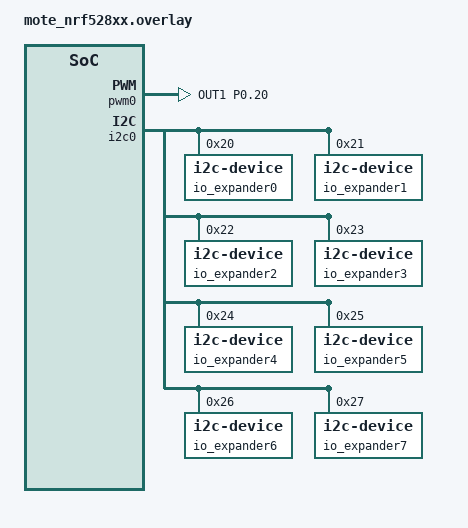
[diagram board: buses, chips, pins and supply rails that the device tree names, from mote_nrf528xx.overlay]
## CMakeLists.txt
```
#
# Copyright (c) 2021 Nordic Semiconductor ASA
#
# SPDX-License-Identifier: LicenseRef-Nordic-5-Clause
#

cmake_minimum_required(VERSION 3.20.0)

# Set Kconfig root files that will be processed as a first Kconfig for used child images.
set(mcuboot_KCONFIG_ROOT "\\\${ZEPHYR_CONNECTEDHOMEIP_MODULE_DIR}/config/nrfconnect/chip-module/Kconfig.mcuboot.root")
set(multiprotocol_rpmsg_KCONFIG_ROOT "\\\${ZEPHYR_CONNECTEDHOMEIP_MODULE_DIR}/config/nrfconnect/chip-module/Kconfig.multiprotocol_rpmsg.root")
set(hci_rpmsg_KCONFIG_ROOT "\\\${ZEPHYR_CONNECTEDHOMEIP_MODULE_DIR}/config/nrfconnect/chip-module/Kconfig.hci_rpmsg.root")

# For prj.conf the CONF_FILE is empty. In other case extract the exact file name from the path string.
if(CONF_FILE)
    get_filename_component(CONFIG_FILE_NAME ${CONF_FILE} NAME)
endif()

if(NOT "${CONFIG_FILE_NAME}" STREQUAL "prj_no_dfu.conf")
    message(STATUS "PM on board:" ${BOARD})
    set(PM_STATIC_YML_FILE ${CMAKE_CURRENT_SOURCE_DIR}/configuration/${BOARD}/pm_static_dfu.yml)
endif()

find_package(Zephyr HINTS $ENV{ZEPHYR_BASE})

project(matter-smart-pulgs)

set(COMMON_ROOT ${ZEPHYR_NRF_MODULE_DIR}/samples/matter/common)
set(NLIO_ROOT ${ZEPHYR_CONNECTEDHOMEIP_MODULE_DIR}/third_party/nlio/repo)
include(${ZEPHYR_CONNECTEDHOMEIP_MODULE_DIR}/config/nrfconnect/app/enable-gnu-std.cmake)
include(${ZEPHYR_CONNECTEDHOMEIP_MODULE_DIR}/src/app/chip_data_model.cmake)

# NORDIC SDK APP START
target_include_directories(app PRIVATE
    src
    ${COMMON_ROOT}/src
    ${NLIO_ROOT}/include
    ${ZEPHYR_CONNECTEDHOMEIP_MODULE_DIR}/zzz_generated/app-common
)

target_sources(app PRIVATE
    src/app_task.cpp
    src/main.cpp
    src/io_relay.cpp
    src/zcl_callbacks.cpp
    src/zap-generated/IMClusterCommandHandler.cpp
    src/zap-generated/callback-stub.cpp
    ${COMMON_ROOT}/src/led_widget.cpp
    ${COMMON_ROOT}/src/pwm_device.cpp
)

if(CONFIG_CHIP_OTA_REQUESTOR OR CONFIG_MCUMGR_TRANSPORT_BT)
    target_sources(app PRIVATE ${COMMON_ROOT}/src/ota_util.cpp)
endif()

if(CONFIG_MCUMGR_TRANSPORT_BT)
    target_sources(app PRIVATE ${COMMON_ROOT}/src/dfu_over_smp.cpp)
endif()

chip_configure_data_model(app
    INCLUDE_SERVER
    BYPASS_IDL
    GEN_DIR src/zap-generated
    ZAP_FILE ${CMAKE_CURRENT_SOURCE_DIR}/src/smart_plugs.zap
)
# NORDIC SDK APP END
```

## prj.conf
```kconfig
#
# Copyright (c) 2022 Nordic Semiconductor ASA
#
# SPDX-License-Identifier: LicenseRef-Nordic-5-Clause
#

# Enable CHIP
CONFIG_CHIP=y
CONFIG_CHIP_PROJECT_CONFIG="src/chip_project_config.h"
# 32773 == 0x8005 (example lighting-app)
CONFIG_CHIP_DEVICE_PRODUCT_ID=32773
CONFIG_STD_CPP14=y

# Enable CHIP pairing automatically on application start.
CONFIG_CHIP_ENABLE_PAIRING_AUTOSTART=y

# Add support for LEDs and buttons on Nordic development kits
CONFIG_DK_LIBRARY=y
CONFIG_PWM=y

# Bluetooth Low Energy configuration
CONFIG_BT_DEVICE_NAME="MatterPlugs"

# Other settings
CONFIG_THREAD_NAME=y
CONFIG_MPU_STACK_GUARD=y
CONFIG_RESET_ON_FATAL_ERROR=n
CONFIG_CHIP_LIB_SHELL=y

# Reduce application size
CONFIG_USE_SEGGER_RTT=n

# Enable Factory Data feature
CONFIG_CHIP_FACTORY_DATA=y
CONFIG_CHIP_FACTORY_DATA_BUILD=y

#CONFIG_CLOCK_CONTROL_NRF_K32SRC_RC=y
```

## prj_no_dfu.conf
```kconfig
#
# Copyright (c) 2022 Nordic Semiconductor ASA
#
# SPDX-License-Identifier: LicenseRef-Nordic-5-Clause
#

# Enable CHIP
CONFIG_CHIP=y
CONFIG_CHIP_PROJECT_CONFIG="src/chip_project_config.h"
#CONFIG_CHIP_OPENTHREAD_CONFIG="src/OpenThreadConfig.h"


# 32773 == 0x8005 (example lighting-app)
CONFIG_CHIP_DEVICE_PRODUCT_ID=32773
CONFIG_STD_CPP14=y

# Enable CHIP pairing automatically on application start.
CONFIG_CHIP_ENABLE_PAIRING_AUTOSTART=y

# Add support for LEDs and buttons on Nordic development kits
CONFIG_DK_LIBRARY=y
CONFIG_PWM=y

# Bluetooth Low Energy configuration
CONFIG_BT_DEVICE_NAME="MatterLight"

# Other settings
CONFIG_THREAD_NAME=y
CONFIG_MPU_STACK_GUARD=y
CONFIG_RESET_ON_FATAL_ERROR=n
CONFIG_CHIP_LIB_SHELL=y

# Disable Matter OTA DFU
CONFIG_CHIP_OTA_REQUESTOR=n

# Disable QSPI NOR
CONFIG_CHIP_QSPI_NOR=n

# Reduce application size
CONFIG_USE_SEGGER_RTT=n

#CONFIG_CLOCK_CONTROL_NRF_K32SRC_RC=y
```

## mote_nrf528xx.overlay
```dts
// To get started, press Ctrl+Space to bring up the completion menu and view the available nodes.

// You can also use the buttons in the sidebar to perform actions on nodes.
// Actions currently available include:

// * Enabling / disabling the node
// * Adding the bus to a bus
// * Removing the node
// * Connecting ADC channels

// For more help, browse the DeviceTree documentation at https://docs.zephyrproject.org/latest/guides/dts/index.html
// You can also visit the nRF DeviceTree extension documentation at https://nrfconnect.github.io/vscode-nrf-connect/devicetree/nrfdevicetree.html



 / {
	chosen {
		nordic,pm-ext-flash = &w25q128;
	};

	/*
	* In some default configurations within the nRF Connect SDK,
	* e.g. on nRF52840, the chosen zephyr,entropy node is &cryptocell.
	* This devicetree overlay ensures that default is overridden wherever it
	* is set, as this application uses the RNG node for entropy exclusively.
	*/

	chosen {
		zephyr,entropy = &rng;
	};

	/*
	* By default, PWM module is only configured for led0 (LED1 on the board).
	* The light bulb app, however, uses LED2 to show the state of the lighting,
	* including its brightness level.
	*/
	aliases {
		pwm-led1 = &pwm_led1;
	};

	pwmleds {
		pwm_led1: pwm_led_1 {
			pwms = <&pwm0 1 PWM_MSEC(20) PWM_POLARITY_INVERTED>;
		};
	};

};

&pwm0 {
	pinctrl-0 = <&pwm0_default_alt>;
	pinctrl-1 = <&pwm0_sleep_alt>;
	pinctrl-names = "default", "sleep";
};

&pinctrl {
	pwm0_default_alt: pwm0_default_alt {
		group1 {
			psels = <NRF_PSEL(PWM_OUT1, 0, 20)>;
			nordic,invert;
		};
	};

	pwm0_sleep_alt: pwm0_sleep_alt {
		group1 {
			psels = <NRF_PSEL(PWM_OUT1, 0, 20)>;
			low-power-enable;
		};
	};

};

/* Disable unused peripherals to reduce power consumption */
&adc {
	status = "disabled";
};
&uart1 {
	status = "disabled";
};

&spi1 {
	status = "disabled";
};
&spi3 {
	status = "disabled";
};
&usbd {
	status = "disabled";
};


&i2c0 {
    io_expander_0: io_expander@20{
        compatible = "i2c-device";
        reg = < 0x20 >;
        label = "io_expander0";
    };

    io_expander_1: io_expander@21{
        compatible = "i2c-device";
        reg = < 0x21 >;
        label = "io_expander1";
    };

    io_expander_2: io_expander@22{
        compatible = "i2c-device";
        reg = < 0x22 >;
        label = "io_expander2";
    };

    io_expander_3: io_expander@23{
        compatible = "i2c-device";
        reg = < 0x23 >;
        label = "io_expander3";
    };

    io_expander_4: io_expander@24{
        compatible = "i2c-device";
        reg = < 0x24 >;
        label = "io_expander4";
    };

    io_expander_5: io_expander@25{
        compatible = "i2c-device";
        reg = < 0x25 >;
        label = "io_expander5";
    };

    io_expander_6: io_expander@26{
        compatible = "i2c-device";
        reg = < 0x26 >;
        label = "io_expander6";
    };

    io_expander_7: io_expander@27{
        compatible = "i2c-device";
        reg = < 0x27 >;
        label = "io_expander7";
    };

};
```

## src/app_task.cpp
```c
/*
 * Copyright (c) 2021 Nordic Semiconductor ASA
 *
 * SPDX-License-Identifier: LicenseRef-Nordic-5-Clause
 */

#include "app_task.h"

#include "app_config.h"
#include "led_util.h"
#include "pwm_device.h"

#include <platform/CHIPDeviceLayer.h>

#include <app-common/zap-generated/attributes/Accessors.h>
#include <app/DeferredAttributePersistenceProvider.h>
#include <app/clusters/identify-server/identify-server.h>
#include <app/server/OnboardingCodesUtil.h>
#include <app/server/Server.h>
#include <credentials/DeviceAttestationCredsProvider.h>
#include <credentials/examples/DeviceAttestationCredsExample.h>
#include <lib/support/CHIPMem.h>
#include <lib/support/CodeUtils.h>
#include <system/SystemError.h>

#ifdef CONFIG_CHIP_WIFI
#include <app/clusters/network-commissioning/network-commissioning.h>
#include <platform/nrfconnect/wifi/NrfWiFiDriver.h>
#endif

#ifdef CONFIG_CHIP_OTA_REQUESTOR
#include "ota_util.h"
#endif

#include <dk_buttons_and_leds.h>
#include <zephyr/kernel.h>
#include <zephyr/logging/log.h>

LOG_MODULE_DECLARE(app, CONFIG_CHIP_APP_LOG_LEVEL);

using namespace ::chip;
using namespace ::chip::app;
using namespace ::chip::Credentials;
using namespace ::chip::DeviceLayer;

namespace
{
constexpr uint32_t kFactoryResetTriggerTimeout = 3000;
constexpr uint32_t kFactoryResetCancelWindowTimeout = 3000;
constexpr size_t kAppEventQueueSize = 10;
constexpr EndpointId kLightEndpointId = 1;
constexpr uint8_t kDefaultMinLevel = 0;
constexpr uint8_t kDefaultMaxLevel = 254;
#if NUMBER_OF_BUTTONS == 2
constexpr uint32_t kAdvertisingTriggerTimeout = 3000;
#endif
constexpr uint16_t kTriggerEffectTimeout = 5000;
constexpr uint16_t kTriggerEffectFinishTimeout = 1000;

K_MSGQ_DEFINE(sAppEventQueue, sizeof(AppEvent), kAppEventQueueSize, alignof(AppEvent));
k_timer sFunctionTimer;
k_timer sTriggerEffectTimer;

Identify sIdentify = { kLightEndpointId, AppTask::IdentifyStartHandler, AppTask::IdentifyStopHandler,
		       EMBER_ZCL_IDENTIFY_IDENTIFY_TYPE_VISIBLE_LED, AppTask::TriggerIdentifyEffectHandler };

LEDWidget sStatusLED;
LEDWidget sIdentifyLED;
#if NUMBER_OF_LEDS == 4
FactoryResetLEDsWrapper<2> sFactoryResetLEDs{ { FACTORY_RESET_SIGNAL_LED, FACTORY_RESET_SIGNAL_LED1 } };
#endif

bool sIsNetworkProvisioned = false;
bool sIsNetworkEnabled = false;
bool sHaveBLEConnections = false;
bool sIsTriggerEffectActive = false;

const struct pwm_dt_spec sLightPwmDevice = PWM_DT_SPEC_GET(DT_ALIAS(pwm_led1));

// Define a custom attribute persister which makes actual write of the CurrentLevel attribute value
// to the non-volatile storage only when it has remained constant for 5 seconds. This is to reduce
// the flash wearout when the attribute changes frequently as a result of MoveToLevel command.
// DeferredAttribute object describes a deferred attribute, but also holds a buffer with a value to
// be written, so it must live so long as the DeferredAttributePersistenceProvider object.
DeferredAttribute gCurrentLevelPersister(ConcreteAttributePath(kLightEndpointId, Clusters::LevelControl::Id,
							       Clusters::LevelControl::Attributes::CurrentLevel::Id));
DeferredAttributePersistenceProvider gDeferredAttributePersister(Server::GetInstance().GetDefaultAttributePersister(),
								 Span<DeferredAttribute>(&gCurrentLevelPersister, 1),
								 System::Clock::Milliseconds32(5000));

} /* namespace */

namespace LedConsts
{
constexpr uint32_t kBlinkRate_ms{ 500 };
constexpr uint32_t kIdentifyBlinkRate_ms{ 500 };

namespace StatusLed
{
	namespace Unprovisioned
	{
		constexpr uint32_t kOn_ms{ 100 };
		constexpr uint32_t kOff_ms{ kOn_ms };
	} /* namespace Unprovisioned */
	namespace Provisioned
	{
		constexpr uint32_t kOn_ms{ 50 };
		constexpr uint32_t kOff_ms{ 950 };
	} /* namespace Provisioned */

} /* namespace StatusLed */
} /* namespace LedConsts */

#ifdef CONFIG_CHIP_WIFI
app::Clusters::NetworkCommissioning::Instance
	sWiFiCommissioningInstance(0, &(NetworkCommissioning::NrfWiFiDriver::Instance()));
#endif

CHIP_ERROR AppTask::Init()
{
	/* Initialize CHIP stack */
	LOG_INF("Init CHIP stack");

	CHIP_ERROR err = chip::Platform::MemoryInit();
	if (err != CHIP_NO_ERROR) {
		LOG_ERR("Platform::MemoryInit() failed");
		return err;
	}

	err = PlatformMgr().InitChipStack();
	if (err != CHIP_NO_ERROR) {
		LOG_ERR("PlatformMgr().InitChipStack() failed");
		return err;
	}

#if defined(CONFIG_NET_L2_OPENTHREAD)
	err = ThreadStackMgr().InitThreadStack();
	if (err != CHIP_NO_ERROR) {
		LOG_ERR("ThreadStackMgr().InitThreadStack() failed: %s", ErrorStr(err));
		return err;
	}

	err = ConnectivityMgr().SetThreadDeviceType(ConnectivityManager::kThreadDeviceType_Router);

	if (err != CHIP_NO_ERROR) {
		LOG_ERR("ThreadStackMgr().InitThreadStack() failed: %s", ErrorStr(err));
		return err;
	}

#elif defined(CONFIG_CHIP_WIFI)
	sWiFiCommissioningInstance.Init();
#else
	return CHIP_ERROR_INTERNAL;
#endif /* CONFIG_NET_L2_OPENTHREAD */

	/* Initialize LEDs */
	LEDWidget::InitGpio();
	LEDWidget::SetStateUpdateCallback(LEDStateUpdateHandler);

	sStatusLED.Init(SYSTEM_STATE_LED);
	sIdentifyLED.Init(LIGHTING_STATE_LED);
	sIdentifyLED.Set(false);

	UpdateStatusLED();

	/* Initialize buttons */
	int ret = dk_buttons_init(ButtonEventHandler);
	if (ret) {
		LOG_ERR("dk_buttons_init() failed");
		return chip::System::MapErrorZephyr(ret);
	}

    /* update hardware config */
	mIO_Config.UpdateMode();

	/* Initialize function timer */
	k_timer_init(&sFunctionTimer, &AppTask::FunctionTimerTimeoutCallback, nullptr);
	k_timer_user_data_set(&sFunctionTimer, this);

	/* Initialize trigger effect timer */
	k_timer_init(&sTriggerEffectTimer, &AppTask::TriggerEffectTimerTimeoutCallback, nullptr);

	/* Initialize lighting device (PWM) */
	uint8_t minLightLevel = kDefaultMinLevel;
	Clusters::LevelControl::Attributes::MinLevel::Get(kLightEndpointId, &minLightLevel);

	uint8_t maxLightLevel = kDefaultMaxLevel;
	Clusters::LevelControl::Attributes::MaxLevel::Get(kLightEndpointId, &maxLightLevel);

	ret = mPWMDevice.Init(&sLightPwmDevice, minLightLevel, maxLightLevel, maxLightLevel);
	if (ret != 0) {
		return chip::System::MapErrorZephyr(ret);
	}
	mPWMDevice.SetCallbacks(ActionInitiated, ActionCompleted);



#ifdef CONFIG_CHIP_OTA_REQUESTOR
	/* OTA image confirmation must be done before the factory data init. */
	OtaConfirmNewImage();
#endif

#ifdef CONFIG_MCUMGR_TRANSPORT_BT
	/* Initialize DFU over SMP */
	GetDFUOverSMP().Init();
	GetDFUOverSMP().ConfirmNewImage();
#endif

	/* Initialize CHIP server */
#if CONFIG_CHIP_FACTORY_DATA
	ReturnErrorOnFailure(mFactoryDataProvider.Init());
	SetDeviceInstanceInfoProvider(&mFactoryDataProvider);
	SetDeviceAttestationCredentialsProvider(&mFactoryDataProvider);
	SetCommissionableDataProvider(&mFactoryDataProvider);
#else
	SetDeviceInstanceInfoProvider(&DeviceInstanceInfoProviderMgrImpl());
	SetDeviceAttestationCredentialsProvider(Examples::GetExampleDACProvider());
#endif

	static CommonCaseDeviceServerInitParams initParams;
	(void)initParams.InitializeStaticResourcesBeforeServerInit();

	ReturnErrorOnFailure(chip::Server::GetInstance().Init(initParams));
	app::SetAttributePersistenceProvider(&gDeferredAttributePersister);
	ConfigurationMgr().LogDeviceConfig();
	PrintOnboardingCodes(chip::RendezvousInformationFlags(chip::RendezvousInformationFlag::kBLE));

	/*
	 * Add CHIP event handler and start CHIP thread.
	 * Note that all the initialization code should happen prior to this point to avoid data races
	 * between the main and the CHIP threads.
	 */
	PlatformMgr().AddEventHandler(ChipEventHandler, 0);

	err = PlatformMgr().StartEventLoopTask();
	if (err != CHIP_NO_ERROR) {
		LOG_ERR("PlatformMgr().StartEventLoopTask() failed");
		return err;
	}

	return CHIP_NO_ERROR;
}

CHIP_ERROR AppTask::StartApp()
{
	ReturnErrorOnFailure(Init());

	AppEvent event = {};

	while (true) {
		k_msgq_get(&sAppEventQueue, &event, K_FOREVER);
		DispatchEvent(event);
	}

	return CHIP_NO_ERROR;
}

void AppTask::IdentifyStartHandler(Identify *)
{
	AppEvent event;
	event.Type = AppEventType::IdentifyStart;
	event.Handler = [](const AppEvent &) {
		Instance().mPWMDevice.SuppressOutput();
		sIdentifyLED.Blink(LedConsts::kIdentifyBlinkRate_ms);
	};
	PostEvent(event);
}

void AppTask::IdentifyStopHandler(Identify *)
{
	AppEvent event;
	event.Type = AppEventType::IdentifyStop;
	event.Handler = [](const AppEvent &) {
		sIdentifyLED.Set(false);
		Instance().mPWMDevice.ApplyLevel();
	};
	PostEvent(event);
}

void AppTask::TriggerEffectTimerTimeoutCallback(k_timer *timer)
{
	LOG_INF("Identify effect completed");

	sIsTriggerEffectActive = false;

	sIdentifyLED.Set(false);
	Instance().mPWMDevice.ApplyLevel();
}

void AppTask::TriggerIdentifyEffectHandler(Identify *identify)
{
	switch (identify->mCurrentEffectIdentifier) {
	/* Just handle all effects in the same way. */
	case EMBER_ZCL_IDENTIFY_EFFECT_IDENTIFIER_BLINK:
	case EMBER_ZCL_IDENTIFY_EFFECT_IDENTIFIER_BREATHE:
	case EMBER_ZCL_IDENTIFY_EFFECT_IDENTIFIER_OKAY:
	case EMBER_ZCL_IDENTIFY_EFFECT_IDENTIFIER_CHANNEL_CHANGE:
		LOG_INF("Identify effect identifier changed to %d", identify->mCurrentEffectIdentifier);

		sIsTriggerEffectActive = false;

		k_timer_stop(&sTriggerEffectTimer);
		k_timer_start(&sTriggerEffectTimer, K_MSEC(kTriggerEffectTimeout), K_NO_WAIT);

		Instance().mPWMDevice.SuppressOutput();
		sIdentifyLED.Blink(LedConsts::kIdentifyBlinkRate_ms);

		break;
	case EMBER_ZCL_IDENTIFY_EFFECT_IDENTIFIER_FINISH_EFFECT:
		LOG_INF("Identify effect finish triggered");
		k_timer_stop(&sTriggerEffectTimer);
		k_timer_start(&sTriggerEffectTimer, K_MSEC(kTriggerEffectFinishTimeout), K_NO_WAIT);
		break;
	case EMBER_ZCL_IDENTIFY_EFFECT_IDENTIFIER_STOP_EFFECT:
		if (sIsTriggerEffectActive) {
			sIsTriggerEffectActive = false;

			k_timer_stop(&sTriggerEffectTimer);

			sIdentifyLED.Set(false);
			Instance().mPWMDevice.ApplyLevel();
		}
		break;
	default:
		LOG_ERR("Received invalid effect identifier.");
		break;
	}
}

#if NUMBER_OF_BUTTONS == 2
void AppTask::StartBLEAdvertisementAndLightActionEventHandler(const AppEvent &event)
{
	if (event.ButtonEvent.Action == static_cast<uint8_t>(AppEventType::ButtonPushed)) {
		Instance().StartTimer(kAdvertisingTriggerTimeout);
		Instance().mFunction = FunctionEvent::AdvertisingStart;
	} else {
		if (Instance().mFunction == FunctionEvent::AdvertisingStart && Instance().mFunctionTimerActive) {
			Instance().CancelTimer();
			Instance().mFunction = FunctionEvent::NoneSelected;

			AppEvent button_event;
			button_event.Type = AppEventType::Button;
			button_event.ButtonEvent.PinNo = BLE_ADVERTISEMENT_START_AND_LIGHTING_BUTTON;
			button_event.ButtonEvent.Action = static_cast<uint8_t>(AppEventType::ButtonReleased);
			button_event.Handler = LightingActionEventHandler;
			PostEvent(button_event);
		}
	}
}
#endif

void AppTask::LightingActionEventHandler(const AppEvent &event)
{
	PWMDevice::Action_t action = PWMDevice::INVALID_ACTION;
	int32_t actor = 0;

	if (event.Type == AppEventType::Lighting) {
		action = static_cast<PWMDevice::Action_t>(event.LightingEvent.Action);
		actor = event.LightingEvent.Actor;
	} else if (event.Type == AppEventType::Button) {
		action = Instance().mPWMDevice.IsTurnedOn() ? PWMDevice::OFF_ACTION : PWMDevice::ON_ACTION;
		actor = static_cast<int32_t>(AppEventType::Button);
	}

	if (action != PWMDevice::INVALID_ACTION && Instance().mPWMDevice.InitiateAction(action, actor, NULL)) {
		LOG_INF("Action is already in progress or active.");
	}
}

void AppTask::ButtonEventHandler(uint32_t buttonState, uint32_t hasChanged)
{
	AppEvent button_event;
	button_event.Type = AppEventType::Button;

#if NUMBER_OF_BUTTONS == 2
	if (BLE_ADVERTISEMENT_START_AND_LIGHTING_BUTTON_MASK & hasChanged) {
		button_event.ButtonEvent.PinNo = BLE_ADVERTISEMENT_START_AND_LIGHTING_BUTTON;
		button_event.ButtonEvent.Action =
			static_cast<uint8_t>((BLE_ADVERTISEMENT_START_AND_LIGHTING_BUTTON_MASK & buttonState) ?
						     AppEventType::ButtonPushed :
						     AppEventType::ButtonReleased);
		button_event.Handler = StartBLEAdvertisementAndLightActionEventHandler;
		PostEvent(button_event);
	}
#else
	if (LIGHTING_BUTTON_MASK & buttonState & hasChanged) {
		button_event.ButtonEvent.PinNo = LIGHTING_BUTTON;
		button_event.ButtonEvent.Action = static_cast<uint8_t>(AppEventType::ButtonPushed);
		button_event.Handler = LightingActionEventHandler;
		PostEvent(button_event);
	}

	if (BLE_ADVERTISEMENT_START_BUTTON_MASK & buttonState & hasChanged) {
		button_event.ButtonEvent.PinNo = BLE_ADVERTISEMENT_START_BUTTON;
		button_event.ButtonEvent.Action = static_cast<uint8_t>(AppEventType::ButtonPushed);
		button_event.Handler = StartBLEAdvertisementHandler;
		PostEvent(button_event);
	}
#endif

	if (FUNCTION_BUTTON_MASK & hasChanged) {
		button_event.ButtonEvent.PinNo = FUNCTION_BUTTON;
		button_event.ButtonEvent.Action =
			static_cast<uint8_t>((FUNCTION_BUTTON_MASK & buttonState) ? AppEventType::ButtonPushed :
										    AppEventType::ButtonReleased);
		button_event.Handler = FunctionHandler;
		PostEvent(button_event);
	}
}

void AppTask::FunctionTimerTimeoutCallback(k_timer *timer)
{
	if (!timer) {
		return;
	}

	Instance().mFunctionTimerActive = false;
	AppEvent event;
	event.Type = AppEventType::Timer;
	event.TimerEvent.Context = k_timer_user_data_get(timer);
	event.Handler = FunctionTimerEventHandler;
	PostEvent(event);
}

void AppTask::FunctionTimerEventHandler(const AppEvent &event)
{
	if (event.Type != AppEventType::Timer) {
		return;
	}

	/* If we reached here, the button was held past kFactoryResetTriggerTimeout, initiate factory reset */
	if (Instance().mFunction == FunctionEvent::SoftwareUpdate) {
		LOG_INF("Factory Reset Triggered. Release button within %ums to cancel.", kFactoryResetTriggerTimeout);

		/* Start timer for kFactoryResetCancelWindowTimeout to allow user to cancel, if required. */
		Instance().StartTimer(kFactoryResetCancelWindowTimeout);
		Instance().mFunction = FunctionEvent::FactoryReset;

		/* Turn off all LEDs before starting blink to make sure blink is co-ordinated. */
		sStatusLED.Set(false);
#if NUMBER_OF_LEDS == 4
		sFactoryResetLEDs.Set(false);
#endif

		sStatusLED.Blink(LedConsts::kBlinkRate_ms);
#if NUMBER_OF_LEDS == 4
		sFactoryResetLEDs.Blink(LedConsts::kBlinkRate_ms);
#endif
	} else if (Instance().mFunction == FunctionEvent::FactoryReset) {
		/* Actually trigger Factory Reset */
		Instance().mFunction = FunctionEvent::NoneSelected;
		chip::Server::GetInstance().ScheduleFactoryReset();
	} else if (Instance().mFunction == FunctionEvent::AdvertisingStart) {
		/* The button was held past kAdvertisingTriggerTimeout, start BLE advertisement
		   if we have 2 buttons UI*/
#if NUMBER_OF_BUTTONS == 2
		StartBLEAdvertisementHandler(event);
		Instance().mFunction = FunctionEvent::NoneSelected;
#endif
	}
}

void AppTask::FunctionHandler(const AppEvent &event)
{
	if (event.ButtonEvent.PinNo != FUNCTION_BUTTON)
		return;

	/* To trigger software update: press the FUNCTION_BUTTON button briefly (< kFactoryResetTriggerTimeout)
	 * To initiate factory reset: press the FUNCTION_BUTTON for kFactoryResetTriggerTimeout +
	 * kFactoryResetCancelWindowTimeout All LEDs start blinking after kFactoryResetTriggerTimeout to signal factory
	 * reset has been initiated. To cancel factory reset: release the FUNCTION_BUTTON once all LEDs start blinking
	 * within the kFactoryResetCancelWindowTimeout.
	 */
	if (event.ButtonEvent.Action == static_cast<uint8_t>(AppEventType::ButtonPushed)) {
		if (!Instance().mFunctionTimerActive && Instance().mFunction == FunctionEvent::NoneSelected) {
			Instance().StartTimer(kFactoryResetTriggerTimeout);
			Instance().mFunction = FunctionEvent::SoftwareUpdate;
		}
	} else {
		/* If the button was released before factory reset got initiated, trigger a software update. */
		if (Instance().mFunctionTimerActive && Instance().mFunction == FunctionEvent::SoftwareUpdate) {
			Instance().CancelTimer();
			Instance().mFunction = FunctionEvent::NoneSelected;

#ifdef CONFIG_MCUMGR_TRANSPORT_BT
			GetDFUOverSMP().StartServer();
#else
			LOG_INF("Software update is disabled");
#endif
		} else if (Instance().mFunctionTimerActive && Instance().mFunction == FunctionEvent::FactoryReset) {
#if NUMBER_OF_LEDS == 4
			sFactoryResetLEDs.Set(false);
#endif
			UpdateStatusLED();
			Instance().CancelTimer();
			Instance().mFunction = FunctionEvent::NoneSelected;
			LOG_INF("Factory Reset has been Canceled");
		}
	}
}

void AppTask::StartBLEAdvertisementHandler(const AppEvent &)
{
	if (Server::GetInstance().GetFabricTable().FabricCount() != 0) {
		LOG_INF("Matter service BLE advertising not started - device is already commissioned");
		return;
	}

	if (ConnectivityMgr().IsBLEAdvertisingEnabled()) {
		LOG_INF("BLE advertising is already enabled");
		return;
	}

	if (Server::GetInstance().GetCommissioningWindowManager().OpenBasicCommissioningWindow() != CHIP_NO_ERROR) {
		LOG_ERR("OpenBasicCommissioningWindow() failed");
	}
}

void AppTask::UpdateLedStateEventHandler(const AppEvent &event)
{
	if (event.Type == AppEventType::UpdateLedState) {
		event.UpdateLedStateEvent.LedWidget->UpdateState();
	}
}

void AppTask::LEDStateUpdateHandler(LEDWidget &ledWidget)
{
	AppEvent event;
	event.Type = AppEventType::UpdateLedState;
	event.Handler = UpdateLedStateEventHandler;
	event.UpdateLedStateEvent.LedWidget = &ledWidget;
	PostEvent(event);
}

void AppTask::UpdateStatusLED()
{
	/* Update the status LED.
	 *
	 * If IPv6 network and service provisioned, keep the LED On constantly.
	 *
	 * If the system has ble connection(s) uptill the stage above, THEN blink the LED at an even
	 * rate of 100ms.
	 *
	 * Otherwise, blink the LED for a very short time. */
	if (sIsNetworkProvisioned && sIsNetworkEnabled) {
		sStatusLED.Set(true);
	} else if (sHaveBLEConnections) {
		sStatusLED.Blink(LedConsts::StatusLed::Unprovisioned::kOn_ms,
				 LedConsts::StatusLed::Unprovisioned::kOff_ms);
	} else {
		sStatusLED.Blink(LedConsts::StatusLed::Provisioned::kOn_ms, LedConsts::StatusLed::Provisioned::kOff_ms);
	}
}

void AppTask::ChipEventHandler(const ChipDeviceEvent *event, intptr_t /* arg */)
{
	switch (event->Type) {
	case DeviceEventType::kCHIPoBLEAdvertisingChange:
#ifdef CONFIG_CHIP_NFC_COMMISSIONING
		if (event->CHIPoBLEAdvertisingChange.Result == kActivity_Started) {
			if (NFCMgr().IsTagEmulationStarted()) {
				LOG_INF("NFC Tag emulation is already started");
			} else {
				ShareQRCodeOverNFC(
					chip::RendezvousInformationFlags(chip::RendezvousInformationFlag::kBLE));
			}
		} else if (event->CHIPoBLEAdvertisingChange.Result == kActivity_Stopped) {
			NFCMgr().StopTagEmulation();
		}
#endif
		sHaveBLEConnections = ConnectivityMgr().NumBLEConnections() != 0;
		UpdateStatusLED();
		break;
#if defined(CONFIG_NET_L2_OPENTHREAD)
	case DeviceEventType::kDnssdInitialized:
#if CONFIG_CHIP_OTA_REQUESTOR
		InitBasicOTARequestor();
#endif /* CONFIG_CHIP_OTA_REQUESTOR */
		break;
	case DeviceEventType::kThreadStateChange:
		sIsNetworkProvisioned = ConnectivityMgr().IsThreadProvisioned();
		sIsNetworkEnabled = ConnectivityMgr().IsThreadEnabled();
#elif defined(CONFIG_CHIP_WIFI)
	case DeviceEventType::kWiFiConnectivityChange:
		sIsNetworkProvisioned = ConnectivityMgr().IsWiFiStationProvisioned();
		sIsNetworkEnabled = ConnectivityMgr().IsWiFiStationEnabled();
#if CONFIG_CHIP_OTA_REQUESTOR
		if (event->WiFiConnectivityChange.Result == kConnectivity_Established) {
			InitBasicOTARequestor();
		}
#endif /* CONFIG_CHIP_OTA_REQUESTOR */
#endif
		UpdateStatusLED();
		break;
	default:
		break;
	}
}

void AppTask::CancelTimer()
{
	k_timer_stop(&sFunctionTimer);
	mFunctionTimerActive = false;
}

void AppTask::StartTimer(uint32_t timeoutInMs)
{
	k_timer_start(&sFunctionTimer, K_MSEC(timeoutInMs), K_NO_WAIT);
	mFunctionTimerActive = true;
}

void AppTask::ActionInitiated(PWMDevice::Action_t action, int32_t actor)
{
	if (action == PWMDevice::ON_ACTION) {
		LOG_INF("Turn On Action has been initiated");
	} else if (action == PWMDevice::OFF_ACTION) {
		LOG_INF("Turn Off Action has been initiated");
	} else if (action == PWMDevice::LEVEL_ACTION) {
		LOG_INF("Level Action has been initiated");
	}
}

void AppTask::ActionCompleted(PWMDevice::Action_t action, int32_t actor)
{
	if (action == PWMDevice::ON_ACTION) {
		LOG_INF("Turn On Action has been completed");
	} else if (action == PWMDevice::OFF_ACTION) {
		LOG_INF("Turn Off Action has been completed");
	} else if (action == PWMDevice::LEVEL_ACTION) {
		LOG_INF("Level Action has been completed");
	}

	if (actor == static_cast<int32_t>(AppEventType::Button)) {
		Instance().UpdateClusterState();
	}
}

void AppTask::PostEvent(const AppEvent &event)
{
	if (k_msgq_put(&sAppEventQueue, &event, K_NO_WAIT) != 0) {
		LOG_INF("Failed to post event to app task event queue");
	}
}

void AppTask::DispatchEvent(const AppEvent &event)
{
	if (event.Handler) {
		event.Handler(event);
	} else {
		LOG_INF("Event received with no handler. Dropping event.");
	}
}

void AppTask::UpdateClusterState()
{
	SystemLayer().ScheduleLambda([this] {
		/* write the new on/off value */
		EmberAfStatus status =
			Clusters::OnOff::Attributes::OnOff::Set(kLightEndpointId, mPWMDevice.IsTurnedOn());

		if (status != EMBER_ZCL_STATUS_SUCCESS) {
			LOG_ERR("Updating on/off cluster failed: %x", status);
		}

		/* write the current level */
		status = Clusters::LevelControl::Attributes::CurrentLevel::Set(kLightEndpointId, mPWMDevice.GetLevel());

		if (status != EMBER_ZCL_STATUS_SUCCESS) {
			LOG_ERR("Updating level cluster failed: %x", status);
		}
	});
}
```

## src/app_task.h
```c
/*
 * Copyright (c) 2021 Nordic Semiconductor ASA
 *
 * SPDX-License-Identifier: LicenseRef-Nordic-5-Clause
 */

#pragma once

#include "app_event.h"
#include "led_widget.h"
#include "pwm_device.h"
#include "io_relay.h"

#include <platform/CHIPDeviceLayer.h>

#if CONFIG_CHIP_FACTORY_DATA
#include <platform/nrfconnect/FactoryDataProvider.h>
#else
#include <platform/nrfconnect/DeviceInstanceInfoProviderImpl.h>
#endif

#ifdef CONFIG_MCUMGR_TRANSPORT_BT
#include "dfu_over_smp.h"
#endif

struct k_timer;
struct Identify;

class AppTask {
public:
	static AppTask &Instance()
	{
		static AppTask sAppTask;
		return sAppTask;
	};

	CHIP_ERROR StartApp();

	void UpdateClusterState();
	PWMDevice &GetPWMDevice() { return mPWMDevice; }
	IO_Relay &GetRelayDevice() { return mIO_RelayDevice; }

	static void IdentifyStartHandler(Identify *);
	static void IdentifyStopHandler(Identify *);
	static void TriggerIdentifyEffectHandler(Identify *);
	static void TriggerEffectTimerTimeoutCallback(k_timer *timer);

private:
	CHIP_ERROR Init();

	void CancelTimer();
	void StartTimer(uint32_t timeoutInMs);

	static void PostEvent(const AppEvent &event);
	static void DispatchEvent(const AppEvent &event);
	static void FunctionTimerEventHandler(const AppEvent &event);
	static void LightingActionEventHandler(const AppEvent &event);
	static void StartBLEAdvertisementHandler(const AppEvent &event);
	static void UpdateLedStateEventHandler(const AppEvent &event);

	static void ChipEventHandler(const chip::DeviceLayer::ChipDeviceEvent *event, intptr_t arg);
	static void ButtonEventHandler(uint32_t buttonState, uint32_t hasChanged);
	static void FunctionTimerTimeoutCallback(k_timer *timer);

	static void ActionInitiated(PWMDevice::Action_t action, int32_t actor);
	static void ActionCompleted(PWMDevice::Action_t action, int32_t actor);
	static void UpdateStatusLED();
	static void LEDStateUpdateHandler(LEDWidget &ledWidget);
	static void FunctionHandler(const AppEvent &event);
	static void StartBLEAdvertisementAndLightActionEventHandler(const AppEvent &event);

	FunctionEvent mFunction = FunctionEvent::NoneSelected;
	bool mFunctionTimerActive = false;
	PWMDevice mPWMDevice;
	IO_Relay mIO_RelayDevice;
	
#if CONFIG_CHIP_FACTORY_DATA
	chip::DeviceLayer::FactoryDataProvider<chip::DeviceLayer::InternalFlashFactoryData> mFactoryDataProvider;
#endif
};
```

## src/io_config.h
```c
/*
 * Copyright (c) 2022 Nordic Semiconductor ASA
 *
 * SPDX-License-Identifier: LicenseRef-Nordic-5-Clause
 */

#pragma once

#include <cstdint>
#include <zephyr/drivers/gpio.h>

class IO_Config {
public:
	enum RelayMode_t : uint8_t {
		NORMAL_NORMAL = 0x00,
		NORMAL_COMPACT = 0x01,
        COMPACT_NORMAL = 0x02,	
    	COMPACT_COMPACT = 0x03,

		INVALID_MODE
	};


    IO_Config(): mIOConfig{
        [0] = GPIO_DT_SPEC_GET(DT_ALIAS(sw0), gpios),
        [1] = GPIO_DT_SPEC_GET(DT_ALIAS(sw1), gpios),
        [2] = GPIO_DT_SPEC_GET(DT_ALIAS(sw2), gpios)
    }{
        mInitialized = 0;
    }


	RelayMode_t GetCurrentMode();

	RelayMode_t UpdateMode();

private:
    int mInitialized;
	RelayMode_t mMode;
    const struct gpio_dt_spec mIOConfig[3];

};
```

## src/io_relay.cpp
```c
/*
 * Copyright (c) 2018 Nordic Semiconductor ASA
 *
 * SPDX-License-Identifier: Apache-2.0
 */
#include <stdio.h>
#include <stdlib.h>
#include <ctype.h>

#ifdef CONFIG_ARCH_POSIX
#include <unistd.h>
#else
#include <zephyr/posix/unistd.h>
#endif

#include <zephyr/logging/log.h>

#include "io_relay.h"


LOG_MODULE_REGISTER(io_ctrl);





int IO_Relay::Set(int slot, Action_t aAction)
{
	int ret;
	uint8_t buf[2] = {0};


	if (!device_is_ready(mIOExpander[slot].bus)) {
		LOG_ERR("I2C bus %s is not ready!\n\r",mIOExpander[slot].bus->name);
		return -1;
	}

	/* Keep the i2c pin with right state, recover bus first */
	i2c_recover_bus(mIOExpander[slot].bus);

	ret = i2c_read_dt(&mIOExpander[slot], buf, 1);
	if(ret != 0){
		LOG_ERR("Failed to read from I2C device address %x at Reg. %x \n", mIOExpander[slot].addr, buf[0]);
		return -1;
	}	

	buf[0] = buf[0] & 0xFC;
	if(aAction == OFF_ACTION){
		buf[0] |= 0x02;
	}
	else{
		buf[0] |= 0x01;
	}
	ret = i2c_write_dt(&mIOExpander[slot], buf, 1);
	if(ret != 0){
		LOG_ERR("Failed to write to I2C device address %x at reg. %x \n", mIOExpander[slot].addr, buf[0]);
		return -1;
	}

	k_sleep(K_MSEC(10));

	buf[0] = buf[0] & 0xFC;
	ret = i2c_write_dt(&mIOExpander[slot], buf, 1);
	if(ret != 0){
		LOG_ERR("Failed to write to I2C device address %x at reg. %x \n", mIOExpander[slot].addr, buf[0]);
		return -1;
	}

	return 0;
}
```

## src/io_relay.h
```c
/*
 * Copyright (c) 2022 Nordic Semiconductor ASA
 *
 * SPDX-License-Identifier: LicenseRef-Nordic-5-Clause
 */

#pragma once

#include <cstdint>
#include <zephyr/drivers/gpio.h>
#include <zephyr/drivers/i2c.h>

class IO_Relay {
public:
	enum Action_t : uint8_t {
		ON_ACTION = 0,
		OFF_ACTION,
		LEVEL_ACTION,

		INVALID_ACTION
	};

	enum State_t : uint8_t {
		kState_On = 0,
		kState_Off,
	};

	using RelayCallback = void (*)(Action_t, int32_t);

    IO_Relay(): mIOExpander{
        [0] = I2C_DT_SPEC_GET(DT_NODELABEL(io_expander_0)),
        [1] = I2C_DT_SPEC_GET(DT_NODELABEL(io_expander_1)),
        [2] = I2C_DT_SPEC_GET(DT_NODELABEL(io_expander_2)),
        [3] = I2C_DT_SPEC_GET(DT_NODELABEL(io_expander_3)),
        [4] = I2C_DT_SPEC_GET(DT_NODELABEL(io_expander_4)),
        [5] = I2C_DT_SPEC_GET(DT_NODELABEL(io_expander_5)),
        [6] = I2C_DT_SPEC_GET(DT_NODELABEL(io_expander_6)),
        [7] = I2C_DT_SPEC_GET(DT_NODELABEL(io_expander_7))
    }{

    }

	// int Init(bool aDefaultState = false);
	// bool IsTurnedOn() const { return mState == kState_On; }
	// bool InitiateAction(Action_t aAction, int32_t aActor, uint8_t *aValue);
	// void SetCallbacks(RelayCallback aActionInitiatedClb, RelayCallback aActionCompletedClb);
	// const device *GetDevice(int slot) { return mIOExpander[slot]->dev; }
	// void SuppressOutput();
	int Set(int slot, Action_t aAction);

private:
	State_t mState;
    const struct i2c_dt_spec mIOExpander[8];
	uint32_t mRelaySlot;

	RelayCallback mActionInitiatedClb;
	RelayCallback mActionCompletedClb;
};
```

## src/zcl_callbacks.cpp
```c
/*
 * Copyright (c) 2021 Nordic Semiconductor ASA
 *
 * SPDX-License-Identifier: LicenseRef-Nordic-5-Clause
 */

#include <lib/support/logging/CHIPLogging.h>

#include "app_task.h"

#include <app-common/zap-generated/attributes/Accessors.h>
#include <app-common/zap-generated/ids/Attributes.h>
#include <app-common/zap-generated/ids/Clusters.h>
#include <app/ConcreteAttributePath.h>

using namespace ::chip;
using namespace ::chip::app::Clusters;
using namespace ::chip::app::Clusters::OnOff;

void MatterPostAttributeChangeCallback(const chip::app::ConcreteAttributePath &attributePath, uint8_t type,
				       uint16_t size, uint8_t *value)
{
	ClusterId clusterId = attributePath.mClusterId;
	AttributeId attributeId = attributePath.mAttributeId;
	EndpointId aEndpointId = attributePath.mEndpointId;

	if (clusterId == OnOff::Id && attributeId == OnOff::Attributes::OnOff::Id) {
		ChipLogProgress(Zcl, "Cluster OnOff: attribute OnOff set to %" PRIu8 "", *value);
		AppTask::Instance().GetPWMDevice().InitiateAction(*value ? PWMDevice::ON_ACTION : PWMDevice::OFF_ACTION,
								  static_cast<int32_t>(AppEventType::Lighting), value);
		AppTask::Instance().GetRelayDevice().Set(
				static_cast<int32_t>(aEndpointId) - 1, 
				*value ? IO_Relay::ON_ACTION : IO_Relay::OFF_ACTION);

	} else if (clusterId == LevelControl::Id && attributeId == LevelControl::Attributes::CurrentLevel::Id) {
		ChipLogProgress(Zcl, "Cluster LevelControl: attribute CurrentLevel set to %" PRIu8 "", *value);
		if (AppTask::Instance().GetPWMDevice().IsTurnedOn()) {
			AppTask::Instance().GetPWMDevice().InitiateAction(
				PWMDevice::LEVEL_ACTION, static_cast<int32_t>(AppEventType::Lighting), value);
		} else {
			ChipLogDetail(Zcl, "LED is off. Try to use move-to-level-with-on-off instead of move-to-level");
		}
	}
}

/** @brief OnOff Cluster Init
 *
 * This function is called when a specific cluster is initialized. It gives the
 * application an opportunity to take care of cluster initialization procedures.
 * It is called exactly once for each endpoint where cluster is present.
 *
 * @param endpoint   Ver.: always
 *
 * TODO Issue #3841
 * emberAfOnOffClusterInitCallback happens before the stack initialize the cluster
 * attributes to the default value.
 * The logic here expects something similar to the deprecated Plugins callback
 * emberAfPluginOnOffClusterServerPostInitCallback.
 *
 */
void emberAfOnOffClusterInitCallback(EndpointId endpoint)
{
	EmberAfStatus status;
	bool storedValue;

	/* Read storedValue on/off value */
	status = Attributes::OnOff::Get(endpoint, &storedValue);
	if (status == EMBER_ZCL_STATUS_SUCCESS) {
		/* Set actual state to the cluster state that was last persisted */
		AppTask::Instance().GetPWMDevice().InitiateAction(
			storedValue ? PWMDevice::ON_ACTION : PWMDevice::OFF_ACTION,
			static_cast<int32_t>(AppEventType::Lighting), reinterpret_cast<uint8_t *>(&storedValue));
	}

	AppTask::Instance().UpdateClusterState();
}
```
